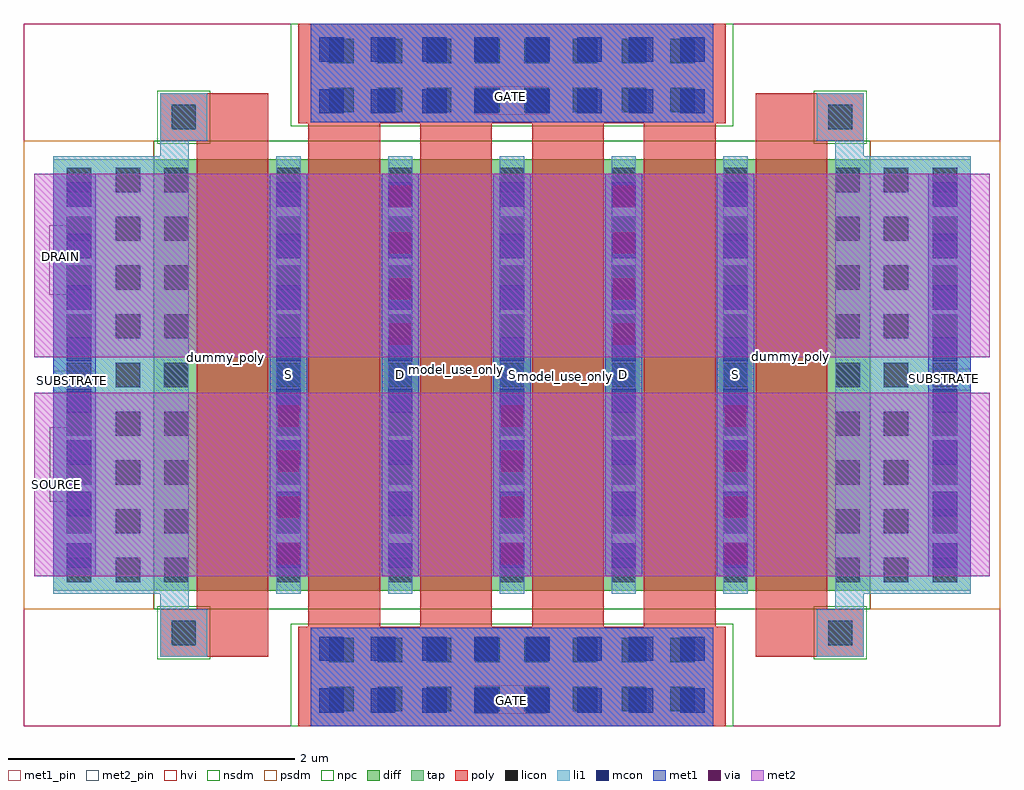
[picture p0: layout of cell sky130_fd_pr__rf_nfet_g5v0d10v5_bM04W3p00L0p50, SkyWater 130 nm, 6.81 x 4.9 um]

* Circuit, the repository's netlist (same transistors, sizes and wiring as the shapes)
* Copyright 2020 The SkyWater PDK Authors
*
* Licensed under the Apache License, Version 2.0 (the "License");
* you may not use this file except in compliance with the License.
* You may obtain a copy of the License at
*
*     https://www.apache.org/licenses/LICENSE-2.0
*
* Unless required by applicable law or agreed to in writing, software
* distributed under the License is distributed on an "AS IS" BASIS,
* WITHOUT WARRANTIES OR CONDITIONS OF ANY KIND, either express or implied.
* See the License for the specific language governing permissions and
* limitations under the License.
*
* SPDX-License-Identifier: Apache-2.0


.subckt sky130_fd_pr__rf_nfet_g5v0d10v5_bM04W3p00L0p50 DRAIN GATE SOURCE SUBSTRATE
X0 SUBSTRATE SUBSTRATE SOURCE SUBSTRATE sky130_fd_pr__nfet_g5v0d10v5 w=3.01e+06u l=500000u
X1 DRAIN GATE SOURCE SUBSTRATE sky130_fd_pr__nfet_g5v0d10v5 w=3.01e+06u l=500000u
X2 DRAIN GATE SOURCE SUBSTRATE sky130_fd_pr__nfet_g5v0d10v5 w=3.01e+06u l=500000u
X3 SOURCE SUBSTRATE SUBSTRATE SUBSTRATE sky130_fd_pr__nfet_g5v0d10v5 w=3.01e+06u l=500000u
X4 SOURCE GATE DRAIN SUBSTRATE sky130_fd_pr__nfet_g5v0d10v5 w=3.01e+06u l=500000u
X5 SOURCE GATE DRAIN SUBSTRATE sky130_fd_pr__nfet_g5v0d10v5 w=3.01e+06u l=500000u
.ends

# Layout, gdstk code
import gdstk
lib = gdstk.Library(unit=1e-6, precision=1e-09)
def R(c, l, rs):  # rectangles x0, y0, x1, y1
    for r in rs: c.add(gdstk.rectangle(r[:2], r[2:], *l))
def A(c, l, x, y, w, h, nx, ny, dx, dy):  # array of equal rectangles
    R(c, l, [(x+i*dx, y+j*dy, x+i*dx+w, y+j*dy+h) for i in range(nx) for j in range(ny)])
diff = (65, 20)
tap = (65, 44)
poly = (66, 20)
licon = (66, 44)
li1 = (67, 20)
mcon = (67, 44)
met1_pin = (68, 16)
met1 = (68, 20)
via = (68, 44)
met2_pin = (69, 16)
met2 = (69, 20)
hvi = (75, 20)
nsdm = (93, 44)
psdm = (94, 20)
npc = (95, 20)

sky130_fd_pr__rf_nfet_g5 = lib.new_cell('sky130_fd_pr__rf_nfet_g5v0d10v5_bM04W3p00L0p50')
R(sky130_fd_pr__rf_nfet_g5, diff, [(0.905,0.945,5.905,3.955)])
R(sky130_fd_pr__rf_nfet_g5, tap, [(0.205,0.945,0.905,3.955), (5.905,0.945,6.605,3.955)])
A(sky130_fd_pr__rf_nfet_g5, poly, 1.985, 0.695, 0.5, 3.51, 4, 1, 0.78, 0)
R(sky130_fd_pr__rf_nfet_g5, poly, [(1.915,0,4.895,0.695), (0.95,0.485,1.28,0.815), (1.205,0.485,1.705,4.415), (5.105,0.485,5.605,4.415), (5.53,0.485,5.86,0.815), (0.95,4.085,1.28,4.415), (5.53,4.085,5.86,4.415), (1.915,4.205,4.895,4.9)])
A(sky130_fd_pr__rf_nfet_g5, licon, 2.13, 0.105, 0.17, 0.17, 8, 2, 0.34, 0.34)
A(sky130_fd_pr__rf_nfet_g5, licon, 0.3, 1.005, 0.17, 0.17, 3, 9, 0.34, 0.34)
A(sky130_fd_pr__rf_nfet_g5, licon, 1.76, 1.005, 0.17, 0.17, 6, 9, 0.78, 0.34)
A(sky130_fd_pr__rf_nfet_g5, licon, 6, 1.005, 0.17, 0.17, 1, 9, 0, 0.34)
A(sky130_fd_pr__rf_nfet_g5, licon, 6.34, 1.005, 0.17, 0.17, 1, 9, 0, 0.34)
A(sky130_fd_pr__rf_nfet_g5, licon, 2.13, 4.285, 0.17, 0.17, 8, 2, 0.34, 0.34)
R(sky130_fd_pr__rf_nfet_g5, licon, [(1.03,0.565,1.2,0.735), (5.61,0.565,5.78,0.735), (1.03,4.165,1.2,4.335), (5.61,4.165,5.78,4.335)])
A(sky130_fd_pr__rf_nfet_g5, li1, 1.76, 0.925, 0.17, 3.05, 5, 1, 0.78, 0)
A(sky130_fd_pr__rf_nfet_g5, li1, 1.76, 1.105, 0.17, 2.69, 5, 1, 0.78, 0)
R(sky130_fd_pr__rf_nfet_g5, li1, [(2,0,4.81,0.685), (0.95,0.485,1.28,0.815), (5.53,0.485,5.86,0.815), (0.95,0.815,1.15,0.925), (5.66,0.815,5.86,0.925), (0.205,0.925,1.15,3.975), (5.66,0.925,6.605,3.975), (0.95,3.975,1.15,4.085), (5.66,3.975,5.86,4.085), (0.95,4.085,1.28,4.415), (5.53,4.085,5.86,4.415), (2,4.215,4.81,4.9)])
A(sky130_fd_pr__rf_nfet_g5, mcon, 2.06, 0.095, 0.17, 0.17, 8, 2, 0.36, 0.36)
A(sky130_fd_pr__rf_nfet_g5, mcon, 0.3, 1.105, 0.17, 0.17, 1, 8, 0, 0.36)
A(sky130_fd_pr__rf_nfet_g5, mcon, 1.76, 1.105, 0.17, 0.17, 5, 8, 0.78, 0.36)
A(sky130_fd_pr__rf_nfet_g5, mcon, 6.34, 1.105, 0.17, 0.17, 1, 8, 0, 0.36)
A(sky130_fd_pr__rf_nfet_g5, mcon, 2.06, 4.275, 0.17, 0.17, 8, 2, 0.36, 0.36)
R(sky130_fd_pr__rf_nfet_g5, met1_pin, [(3.14,0.085,3.645,0.285), (0.205,2.33,0.5,2.48), (6.31,2.345,6.605,2.495), (3.14,4.265,3.645,4.465)])
A(sky130_fd_pr__rf_nfet_g5, met1, 1.715, 1.045, 0.26, 1.28, 3, 1, 1.56, 0)
A(sky130_fd_pr__rf_nfet_g5, met1, 1.715, 1.045, 0.26, 2.81, 5, 1, 0.78, 0)
R(sky130_fd_pr__rf_nfet_g5, met1, [(2,0,4.81,0.685), (0.205,1.045,0.5,3.855), (6.31,1.045,6.605,3.855), (2.495,2.575,2.755,3.855), (4.055,2.575,4.315,3.855), (2,4.215,4.81,4.9)])
A(sky130_fd_pr__rf_nfet_g5, via, 1.77, 1.13, 0.15, 0.15, 3, 4, 1.56, 0.32)
A(sky130_fd_pr__rf_nfet_g5, via, 2.55, 2.66, 0.15, 0.15, 1, 4, 0, 0.32)
A(sky130_fd_pr__rf_nfet_g5, via, 4.11, 2.66, 0.15, 0.15, 1, 4, 0, 0.32)
R(sky130_fd_pr__rf_nfet_g5, met2_pin, [(0.18,1.565,0.33,2.085), (0.175,3.01,0.35,3.495)])
A(sky130_fd_pr__rf_nfet_g5, met2, 1.715, 1.045, 0.26, 1.28, 3, 1, 1.56, 0)
R(sky130_fd_pr__rf_nfet_g5, met2, [(0.07,1.045,6.74,2.325), (0.07,2.575,6.74,3.855), (2.495,2.575,2.755,3.855), (4.055,2.575,4.315,3.855)])
R(sky130_fd_pr__rf_nfet_g5, hvi, [(0,0,6.81,4.9)])
R(sky130_fd_pr__rf_nfet_g5, nsdm, [(0.905,0.815,5.905,4.085)])
R(sky130_fd_pr__rf_nfet_g5, psdm, [(0,0.815,0.905,4.085), (5.905,0.815,6.81,4.085)])
R(sky130_fd_pr__rf_nfet_g5, npc, [(1.86,0,4.95,0.715), (0.93,0.465,1.3,0.835), (5.51,0.465,5.88,0.835), (0.93,4.065,1.3,4.435), (5.51,4.065,5.88,4.435), (1.86,4.185,4.95,4.9)])
sky130_fd_pr__rf_nfet_g5.add(gdstk.Label('GATE', (3.395,4.39), layer=68, texttype=5))
sky130_fd_pr__rf_nfet_g5.add(gdstk.Label('GATE', (3.4,0.18), layer=68, texttype=5))
sky130_fd_pr__rf_nfet_g5.add(gdstk.Label('DRAIN', (0.255,3.275), layer=69, texttype=5))
sky130_fd_pr__rf_nfet_g5.add(gdstk.Label('SOURCE', (0.23,1.685), layer=69, texttype=5))
sky130_fd_pr__rf_nfet_g5.add(gdstk.Label('S', (4.965,2.45), layer=83, texttype=44))
sky130_fd_pr__rf_nfet_g5.add(gdstk.Label('D', (4.185,2.45), layer=83, texttype=44))
sky130_fd_pr__rf_nfet_g5.add(gdstk.Label('S', (3.405,2.45), layer=83, texttype=44))
sky130_fd_pr__rf_nfet_g5.add(gdstk.Label('D', (2.625,2.45), layer=83, texttype=44))
sky130_fd_pr__rf_nfet_g5.add(gdstk.Label('S', (1.845,2.45), layer=83, texttype=44))
sky130_fd_pr__rf_nfet_g5.add(gdstk.Label('S', (4.185,2.45), layer=83, texttype=44))
sky130_fd_pr__rf_nfet_g5.add(gdstk.Label('S', (3.405,2.45), layer=83, texttype=44))
sky130_fd_pr__rf_nfet_g5.add(gdstk.Label('S', (2.625,2.45), layer=83, texttype=44))
sky130_fd_pr__rf_nfet_g5.add(gdstk.Label('S', (1.845,2.45), layer=83, texttype=44))
sky130_fd_pr__rf_nfet_g5.add(gdstk.Label('dummy_poly', (1.405,2.57), layer=83, texttype=44))
sky130_fd_pr__rf_nfet_g5.add(gdstk.Label('dummy_poly', (5.345,2.58), layer=83, texttype=44))
sky130_fd_pr__rf_nfet_g5.add(gdstk.Label('model_use_only', (2.19,2.47), layer=66, texttype=83))
sky130_fd_pr__rf_nfet_g5.add(gdstk.Label('model_use_only', (3.015,2.49), layer=66, texttype=83))
sky130_fd_pr__rf_nfet_g5.add(gdstk.Label('model_use_only', (3.78,2.44), layer=66, texttype=83))
sky130_fd_pr__rf_nfet_g5.add(gdstk.Label('model_use_only', (4.53,2.485), layer=66, texttype=83))
sky130_fd_pr__rf_nfet_g5.add(gdstk.Label('model_use_only', (1.615,2.45), layer=66, texttype=83))
sky130_fd_pr__rf_nfet_g5.add(gdstk.Label('model_use_only', (5.165,2.45), layer=66, texttype=83))
sky130_fd_pr__rf_nfet_g5.add(gdstk.Label('SUBSTRATE', (0.335,2.41), layer=68, texttype=16))
sky130_fd_pr__rf_nfet_g5.add(gdstk.Label('SUBSTRATE', (6.42,2.425), layer=68, texttype=16))

lib.write_gds('sky130_fd_pr__rf_nfet_g5v0d10v5_bM04W3p00L0p50.gds')
